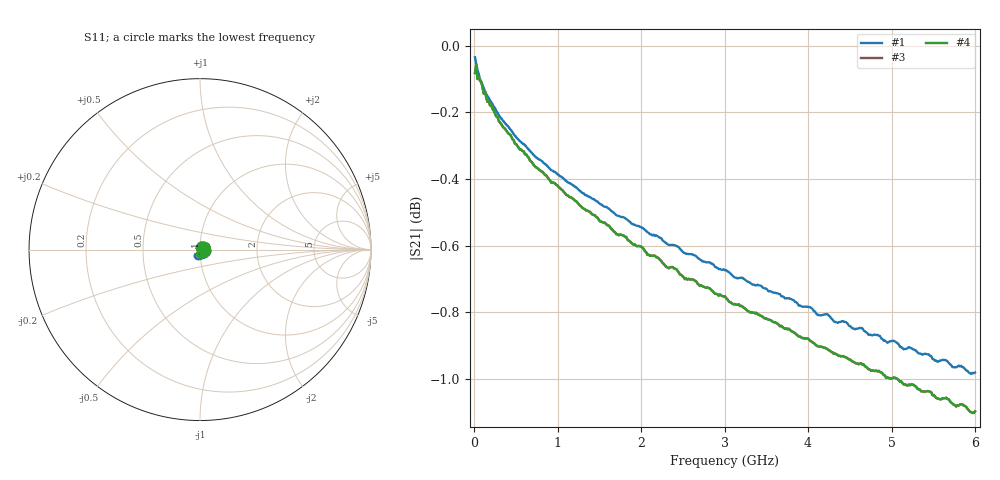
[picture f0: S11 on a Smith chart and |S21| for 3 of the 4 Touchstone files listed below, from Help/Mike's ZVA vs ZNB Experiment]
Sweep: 10 MHz to 6 GHz
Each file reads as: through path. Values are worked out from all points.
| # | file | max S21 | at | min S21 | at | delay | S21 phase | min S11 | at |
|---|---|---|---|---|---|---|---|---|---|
| 1 | Port 1-znb emulation-LV.s2p | -0.03 dB | 10 MHz | -1.0 dB | 5.955 GHz | 2.61 ns | 54 deg at 3.005 GHz | -59.8 dB | 204.7 MHz |
| 2 | Port 1-znb emulation-v1p1p1.s2p | -0.03 dB | 10 MHz | -1.0 dB | 5.955 GHz | 2.61 ns | 54 deg at 3.005 GHz | -59.8 dB | 204.7 MHz |
| 3 | Port 1-zva emulation-LV.s2p | -0.06 dB | 24.98 MHz | -1.1 dB | 5.97 GHz | 2.61 ns | 53 deg at 3.005 GHz | -53.6 dB | 219.7 MHz |
| 4 | Port 1-zva emulation-v1p1p1  PHASE ERROR.s2p | -0.06 dB | 24.98 MHz | -1.1 dB | 5.97 GHz | - | -127 deg at 3.005 GHz | -53.6 dB | 219.7 MHz |
